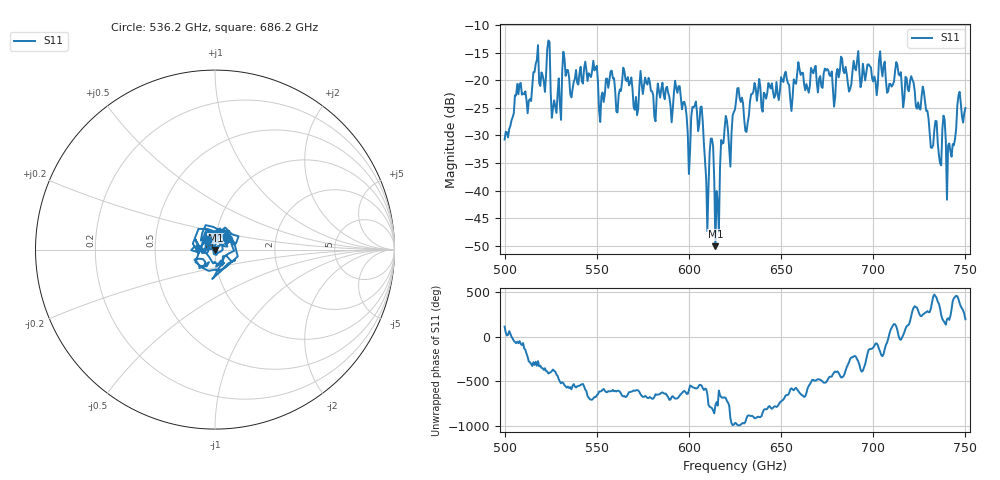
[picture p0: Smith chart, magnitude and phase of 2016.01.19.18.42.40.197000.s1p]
!Created with skrf (http://scikit-rf.org).
# GHz S RI R 50.0
!freq ReS11 ImS11
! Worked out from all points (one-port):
!   401 points, 500 GHz to 750 GHz, reference 50 ohm
!   lowest |S11| = -50.1 dB at 614.4 GHz (marker M1), VSWR 1.01, Z = 50.2 - j0.228 ohm
!   |S11| at or under -10 dB: start of sweep to end of sweep
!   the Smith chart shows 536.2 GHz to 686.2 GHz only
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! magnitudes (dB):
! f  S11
! 500 GHz  -30.7
! 507.5 GHz  -22.5
! 513.1 GHz  -23.7
! 516.9 GHz  -17.0
! 523.8 GHz  -12.8
! 526.9 GHz  -23.6
! 531.2 GHz  -18.4
! 562.5 GHz  -21.7
! 593.8 GHz  -22.3
! 600 GHz  -37.0
! 602.5 GHz  -24.9
! 606.9 GHz  -24.8
! 609.4 GHz  -37.9
! 612.5 GHz  -30.6
! 614.4 GHz  -50.1
! 615.6 GHz  -41.9
! 618.8 GHz  -31.3
! 622.5 GHz  -35.7
! 625 GHz  -25.3
! 631.2 GHz  -29.4
! 656.2 GHz  -23.1
! 660 GHz  -18.0
! 687.5 GHz  -21.5
! 690.6 GHz  -18.2
! 718.8 GHz  -21.7
! 741.2 GHz  -31.4
! 746.2 GHz  -22.8
! 750 GHz  -25.0
